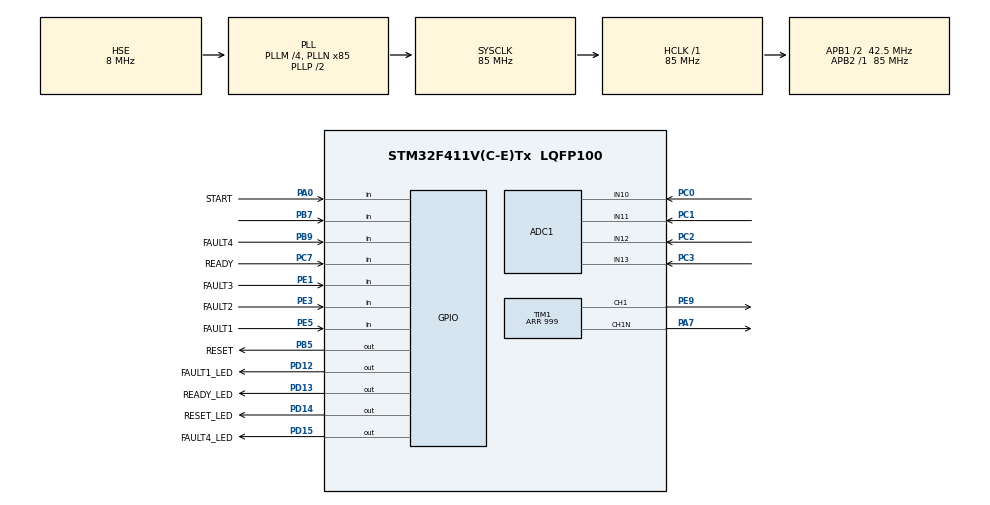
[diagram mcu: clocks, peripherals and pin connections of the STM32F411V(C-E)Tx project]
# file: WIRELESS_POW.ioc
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ADC1.Channel-2\#ChannelRegularConversion=ADC_CHANNEL_10
ADC1.NbrOfConversionFlag=1
ADC1.Rank-2\#ChannelRegularConversion=1
ADC1.SamplingTime-2\#ChannelRegularConversion=ADC_SAMPLETIME_3CYCLES
ADC1.master=1
Mcu.Family=STM32F4
Mcu.Name=STM32F411V(C-E)Tx
Mcu.Package=LQFP100
NVIC.PriorityGroup=NVIC_PRIORITYGROUP_4
PA0-WKUP.GPIO_Label=START
PA0-WKUP.Signal=GPIO_Input
PA13.Mode=Serial_Wire
PA13.Signal=SYS_JTMS-SWDIO
PA14.Mode=Serial_Wire
PA14.Signal=SYS_JTCK-SWCLK
PA7.Mode=PWM Generation1 CH1 CH1N
PA7.Signal=TIM1_CH1N
PB5.GPIO_Label=RESET
PB5.Signal=GPIO_Output
PB7.Signal=GPIO_Input
PB9.GPIO_Label=FAULT4
PB9.Signal=GPIO_Input
PC0.Signal=ADCx_IN10
PC1.Signal=ADCx_IN11
PC2.Signal=ADCx_IN12
PC3.Signal=ADCx_IN13
PC7.GPIO_Label=READY
PC7.GPIO_PuPd=GPIO_PULLDOWN
PC7.Signal=GPIO_Input
PD12.GPIO_Label=FAULT1_LED
PD12.Signal=GPIO_Output
PD13.GPIO_Label=READY_LED
PD13.Signal=GPIO_Output
PD14.GPIO_Label=RESET_LED
PD14.Signal=GPIO_Output
PD15.GPIO_Label=FAULT4_LED
PD15.Signal=GPIO_Output
PE1.GPIO_Label=FAULT3
PE1.Signal=GPIO_Input
PE3.GPIO_Label=FAULT2
PE3.Signal=GPIO_Input
PE5.GPIO_Label=FAULT1
PE5.Signal=GPIO_Input
PE9.Signal=S_TIM1_CH1
PH0\ -\ OSC_IN.Mode=HSE-External-Oscillator
PH0\ -\ OSC_IN.Signal=RCC_OSC_IN
PH1\ -\ OSC_OUT.Mode=HSE-External-Oscillator
PH1\ -\ OSC_OUT.Signal=RCC_OSC_OUT
ProjectManager.HeapSize=0x200
ProjectManager.StackSize=0x400
ProjectManager.TargetToolchain=STM32CubeIDE
RCC.48MHZClocksFreq_Value=42500000
RCC.AHBFreq_Value=85000000
RCC.APB1CLKDivider=RCC_HCLK_DIV2
RCC.APB1Freq_Value=42500000
RCC.APB1TimFreq_Value=85000000
RCC.APB2Freq_Value=85000000
RCC.APB2TimFreq_Value=85000000
RCC.CortexFreq_Value=85000000
RCC.HCLKFreq_Value=85000000
RCC.HSE_VALUE=8000000
RCC.HSI_VALUE=16000000
RCC.LSE_VALUE=32768
RCC.PLLM=4
RCC.PLLN=85
RCC.PLLSourceVirtual=RCC_PLLSOURCE_HSE
RCC.SYSCLKFreq_VALUE=85000000
RCC.SYSCLKSource=RCC_SYSCLKSOURCE_PLLCLK
RCC.VCOOutputFreq_Value=170000000
SH.ADCx_IN10.0=ADC1_IN10,IN10
SH.ADCx_IN11.0=ADC1_IN11,IN11
SH.ADCx_IN12.0=ADC1_IN12,IN12
SH.ADCx_IN13.0=ADC1_IN13,IN13
SH.S_TIM1_CH1.0=TIM1_CH1,PWM Generation1 CH1 CH1N
TIM1.Channel-PWM\ Generation1\ CH1\ CH1N=TIM_CHANNEL_1
TIM1.Period=999
VP_TIM1_VS_ClockSourceINT.Mode=Internal
board=custom

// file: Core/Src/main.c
/* USER CODE BEGIN Header */
/**
  ******************************************************************************
  * @file           : main.c
  * @brief          : Main program body
  ******************************************************************************
  * @attention
  *
  * Copyright (c) 2024 STMicroelectronics.
  * All rights reserved.
  *
  * This software is licensed under terms that can be found in the LICENSE file
  * in the root directory of this software component.
  * If no LICENSE file comes with this software, it is provided AS-IS.
  *
  ******************************************************************************
  */
/* USER CODE END Header */
#include "main.h"
#include "adc.h"
#include "tim.h"
#include "gpio.h"

/* USER CODE BEGIN Includes */
uint32_t duty=0 ;
uint8_t on_off=0;
/* USER CODE END Includes */

void SystemClock_Config(void);

/* USER CODE BEGIN 0 */

void pwm_init()
{
	  HAL_TIM_PWM_Start(&htim1, TIM_CHANNEL_1);
	  HAL_TIMEx_PWMN_Start(&htim1, TIM_CHANNEL_1);
	  HAL_TIM_PWM_Start(&htim1, TIM_CHANNEL_2);
	  HAL_TIMEx_PWMN_Start(&htim1, TIM_CHANNEL_2);
}

void pwm_duty(uint8_t duty_raw)
{
		duty= duty_raw*10;
	  __HAL_TIM_SET_COMPARE(&htim1,TIM_CHANNEL_1,duty);
	  __HAL_TIM_SET_COMPARE(&htim1,TIM_CHANNEL_2,duty);
}

void pwm_on_off()
{
	if(HAL_GPIO_ReadPin(START_GPIO_Port, START_Pin)==1)
	{
		HAL_Delay(35);
		while(HAL_GPIO_ReadPin(START_GPIO_Port, START_Pin)==1);
		HAL_Delay(35);
		on_off++;
	}

	if(on_off==0)
	{
		pwm_duty(0);
		HAL_GPIO_WritePin(RESET_GPIO_Port, RESET_Pin, 0);
		HAL_GPIO_WritePin(RESET_LED_GPIO_Port, RESET_LED_Pin, 0); // reset led

	}

	if(on_off==1)
	{
		pwm_duty(50);
		HAL_GPIO_WritePin(RESET_GPIO_Port, RESET_Pin, 1);
			HAL_GPIO_WritePin(RESET_LED_GPIO_Port, RESET_LED_Pin, 1); // reset led

	}

	if(on_off >=2)
		on_off=0;

}

void FAULTs()
{
	if((HAL_GPIO_ReadPin(FAULT1_GPIO_Port, FAULT1_Pin)==0)
			||(HAL_GPIO_ReadPin(FAULT2_GPIO_Port, FAULT2_Pin)==0)
			||(HAL_GPIO_ReadPin(FAULT3_GPIO_Port, FAULT3_Pin)==0)
			||(HAL_GPIO_ReadPin(FAULT4_GPIO_Port, FAULT4_Pin)==0))
			{
//				pwm_duty(0);

		  	  	  HAL_TIM_PWM_Stop(&htim1, TIM_CHANNEL_1);
		  	  	  HAL_TIMEx_PWMN_Stop(&htim1, TIM_CHANNEL_1);
		  	  	  HAL_TIM_PWM_Stop(&htim1, TIM_CHANNEL_2);
		  	  	  HAL_TIMEx_PWMN_Stop(&htim1, TIM_CHANNEL_2);
		  		  __HAL_TIM_SET_COMPARE(&htim1,TIM_CHANNEL_1,0);
		  		  __HAL_TIM_SET_COMPARE(&htim1,TIM_CHANNEL_2,0);
//		  		  HAL_GPIO_WritePin(RESET_GPIO_Port, RESET_Pin, 1);
			}
//	else
//		pwm_duty(50);

}

void FAULT_Leds()
{
				/// HATA DURUMU
	if(HAL_GPIO_ReadPin(FAULT1_GPIO_Port, FAULT1_Pin)==0)
		HAL_GPIO_WritePin(FAULT1_LED_GPIO_Port, FAULT1_LED_Pin, 1);

//	if(HAL_GPIO_ReadPin(FAULT2_GPIO_Port, FAULT2_Pin)==0)
//		HAL_GPIO_WritePin(FAULT2_LED_GPIO_Port, FAULT2_LED_Pin, 1);
//
//	if(HAL_GPIO_ReadPin(FAULT3_GPIO_Port, FAULT3_Pin)==0)
//		HAL_GPIO_WritePin(FAULT3_LED_GPIO_Port, FAULT3_LED_Pin, 1);
//
//	if(HAL_GPIO_ReadPin(FAULT4_GPIO_Port, FAULT4_Pin)==0)
//		HAL_GPIO_WritePin(FAULT4_LED_GPIO_Port, FAULT4_LED_Pin, 1);

				/// HATASIZ CALISIYOR
	if(HAL_GPIO_ReadPin(FAULT1_GPIO_Port, FAULT1_Pin)==1)
		HAL_GPIO_WritePin(FAULT1_LED_GPIO_Port, FAULT1_LED_Pin, 0);

//	if(HAL_GPIO_ReadPin(FAULT2_GPIO_Port, FAULT2_Pin)==1)
//		HAL_GPIO_WritePin(FAULT2_LED_GPIO_Port, FAULT2_LED_Pin, 0);
//
//	if(HAL_GPIO_ReadPin(FAULT3_GPIO_Port, FAULT3_Pin)==1)
//		HAL_GPIO_WritePin(FAULT3_LED_GPIO_Port, FAULT3_LED_Pin, 0);
//
//	if(HAL_GPIO_ReadPin(FAULT4_GPIO_Port, FAULT4_Pin)==1)
//		HAL_GPIO_WritePin(FAULT4_LED_GPIO_Port, FAULT4_LED_Pin, 0);
}

void ready_state()
{
	if(HAL_GPIO_ReadPin(READY_GPIO_Port, READY_Pin)==1)
		HAL_GPIO_WritePin(READY_LED_GPIO_Port, READY_LED_Pin, 1);

	if(HAL_GPIO_ReadPin(READY_GPIO_Port, READY_Pin)==0)
		HAL_GPIO_WritePin(READY_LED_GPIO_Port, READY_LED_Pin, 0);

}
/* USER CODE END 0 */

int main(void)
{

  /* MCU Configuration--------------------------------------------------------*/

  /* Reset of all peripherals, Initializes the Flash interface and the Systick. */
  HAL_Init();

  /* Configure the system clock */
  SystemClock_Config();

  /* Initialize all configured peripherals */
  MX_GPIO_Init();
  MX_TIM1_Init();
  MX_ADC1_Init();
  /* USER CODE BEGIN 2 */

  pwm_init();
  pwm_duty(50);

  /* USER CODE END 2 */

  /* Infinite loop */
  /* USER CODE BEGIN WHILE */
  while (1)
  {
	  FAULTs();
	  FAULT_Leds();
	  pwm_on_off();
	  ready_state();
    /* USER CODE END WHILE */

  }
}

void SystemClock_Config(void)
{
  RCC_OscInitTypeDef RCC_OscInitStruct = {0};
  RCC_ClkInitTypeDef RCC_ClkInitStruct = {0};

  /** Configure the main internal regulator output voltage
  */
  __HAL_RCC_PWR_CLK_ENABLE();
  __HAL_PWR_VOLTAGESCALING_CONFIG(PWR_REGULATOR_VOLTAGE_SCALE1);

  /** Initializes the RCC Oscillators according to the specified parameters
  * in the RCC_OscInitTypeDef structure.
  */
  RCC_OscInitStruct.OscillatorType = RCC_OSCILLATORTYPE_HSE;
  RCC_OscInitStruct.HSEState = RCC_HSE_ON;
  RCC_OscInitStruct.PLL.PLLState = RCC_PLL_ON;
  RCC_OscInitStruct.PLL.PLLSource = RCC_PLLSOURCE_HSE;
  RCC_OscInitStruct.PLL.PLLM = 4;
  RCC_OscInitStruct.PLL.PLLN = 85;
  RCC_OscInitStruct.PLL.PLLP = RCC_PLLP_DIV2;
  RCC_OscInitStruct.PLL.PLLQ = 4;
  if (HAL_RCC_OscConfig(&RCC_OscInitStruct) != HAL_OK)
  {
    Error_Handler();
  }

  /** Initializes the CPU, AHB and APB buses clocks
  */
  RCC_ClkInitStruct.ClockType = RCC_CLOCKTYPE_HCLK|RCC_CLOCKTYPE_SYSCLK
                              |RCC_CLOCKTYPE_PCLK1|RCC_CLOCKTYPE_PCLK2;
  RCC_ClkInitStruct.SYSCLKSource = RCC_SYSCLKSOURCE_PLLCLK;
  RCC_ClkInitStruct.AHBCLKDivider = RCC_SYSCLK_DIV1;
  RCC_ClkInitStruct.APB1CLKDivider = RCC_HCLK_DIV2;
  RCC_ClkInitStruct.APB2CLKDivider = RCC_HCLK_DIV1;

  if (HAL_RCC_ClockConfig(&RCC_ClkInitStruct, FLASH_LATENCY_2) != HAL_OK)
  {
    Error_Handler();
  }
}

void Error_Handler(void)
{
  __disable_irq();
  while (1)
  {
  }
}
